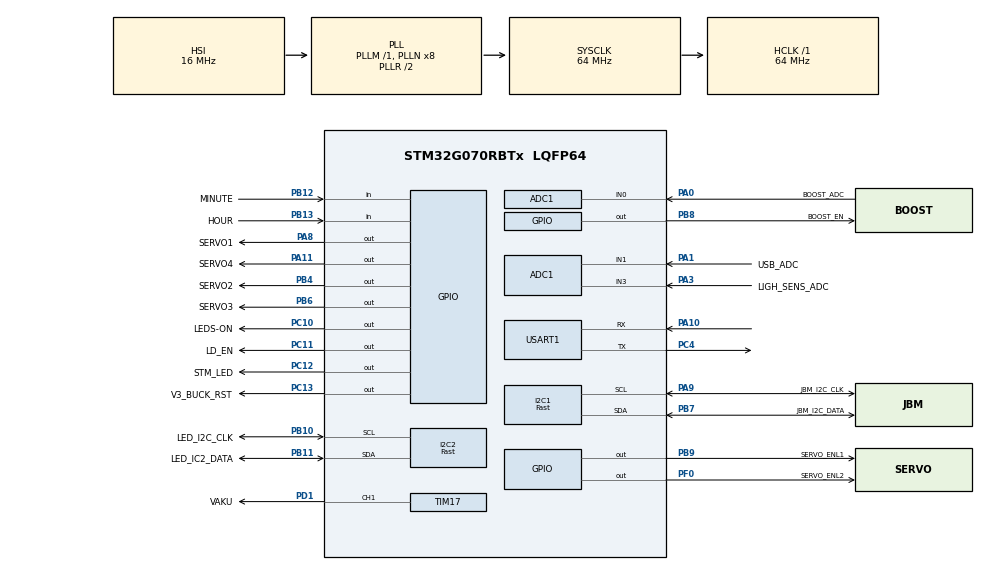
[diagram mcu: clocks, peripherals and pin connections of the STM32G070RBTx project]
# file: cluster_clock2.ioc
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ADC1.Channel-1\#ChannelRegularConversion=ADC_CHANNEL_0
ADC1.Channel-2\#ChannelRegularConversion=ADC_CHANNEL_1
ADC1.Channel-3\#ChannelRegularConversion=ADC_CHANNEL_VBAT
ADC1.Channel-4\#ChannelRegularConversion=ADC_CHANNEL_3
ADC1.ClockPrescaler=ADC_CLOCK_SYNC_PCLK_DIV2
ADC1.ContinuousConvMode=ENABLE
ADC1.DMAContinuousRequests=ENABLE
ADC1.DiscontinuousConvMode=DISABLE
ADC1.EOCSelection=ADC_EOC_SEQ_CONV
ADC1.EnableAnalogWatchDog3=false
ADC1.ExternalTrigConv=ADC_SOFTWARE_START
ADC1.NbrOfConversion=4
ADC1.NbrOfConversionFlag=1
ADC1.Overrun=ADC_OVR_DATA_PRESERVED
ADC1.Rank-1\#ChannelRegularConversion=1
ADC1.Rank-2\#ChannelRegularConversion=2
ADC1.Rank-3\#ChannelRegularConversion=3
ADC1.Rank-4\#ChannelRegularConversion=4
ADC1.SamplingTime-1\#ChannelRegularConversion=ADC_SAMPLINGTIME_COMMON_1
ADC1.SamplingTime-2\#ChannelRegularConversion=ADC_SAMPLINGTIME_COMMON_1
ADC1.SamplingTime-3\#ChannelRegularConversion=ADC_SAMPLINGTIME_COMMON_1
ADC1.SamplingTime-4\#ChannelRegularConversion=ADC_SAMPLINGTIME_COMMON_1
ADC1.SamplingTimeCommon1=ADC_SAMPLETIME_160CYCLES_5
ADC1.SamplingTimeCommon2=ADC_SAMPLETIME_1CYCLE_5
ADC1.SelectedChannel=ADC_CHANNEL_0|ADC_CHANNEL_1|ADC_CHANNEL_3|ADC_CHANNEL_VBAT
ADC1.Sequencer=FULLY_CONFIGURABLE
ADC1.master=1
Dma.ADC1.0.Direction=DMA_PERIPH_TO_MEMORY
Dma.ADC1.0.EventEnable=DISABLE
Dma.ADC1.0.Instance=DMA1_Channel1
Dma.ADC1.0.MemDataAlignment=DMA_MDATAALIGN_HALFWORD
Dma.ADC1.0.MemInc=DMA_MINC_ENABLE
Dma.ADC1.0.Mode=DMA_CIRCULAR
Dma.ADC1.0.PeriphDataAlignment=DMA_PDATAALIGN_HALFWORD
Dma.ADC1.0.PeriphInc=DMA_PINC_DISABLE
Dma.ADC1.0.Polarity=HAL_DMAMUX_REQ_GEN_RISING
Dma.ADC1.0.Priority=DMA_PRIORITY_LOW
Dma.ADC1.0.RequestNumber=1
Dma.ADC1.0.SignalID=NONE
Dma.ADC1.0.SyncEnable=DISABLE
Dma.ADC1.0.SyncPolarity=HAL_DMAMUX_SYNC_NO_EVENT
Dma.ADC1.0.SyncRequestNumber=1
Dma.ADC1.0.SyncSignalID=NONE
Dma.Request0=ADC1
I2C1.I2C_Speed_Mode=I2C_Fast
I2C1.Speed=100
I2C1.Timing=0x00301C79
I2C2.Analog_Filter=I2C_ANALOGFILTER_ENABLE
I2C2.I2C_Speed_Mode=I2C_Fast
I2C2.Timing=0x00C12166
Mcu.Family=STM32G0
Mcu.Name=STM32G070RBTx
Mcu.Package=LQFP64
NVIC.DMA1_Channel1_IRQn=true\:0\:0\:false\:false\:true\:false\:true\:true
PA0.GPIO_Label=BOOST_ADC
PA0.Mode=IN0
PA0.Signal=ADC1_IN0
PA1.GPIO_Label=USB_ADC
PA1.Mode=IN1
PA1.Signal=ADC1_IN1
PA10.Mode=Asynchronous
PA10.Signal=USART1_RX
PA11\ [PA9].GPIO_Label=SERVO4
PA11\ [PA9].Signal=GPIO_Output
PA13.Mode=Serial_Wire
PA13.Signal=SYS_SWDIO
PA14-BOOT0.Mode=Serial_Wire
PA14-BOOT0.Signal=SYS_SWCLK
PA2.GPIO_Label=VBATT_ADC
PA2.Signal=ADC1_IN2
PA3.GPIO_Label=LIGH_SENS_ADC
PA3.Mode=IN3
PA3.Signal=ADC1_IN3
PA8.GPIO_Label=SERVO1
PA8.Signal=GPIO_Output
PA9.GPIO_Label=JBM_I2C_CLK
PA9.Mode=I2C
PA9.Signal=I2C1_SCL
PB10.GPIO_Label=LED_I2C_CLK
PB10.Mode=I2C
PB10.Signal=I2C2_SCL
PB11.GPIO_Label=LED_IC2_DATA
PB11.Mode=I2C
PB11.Signal=I2C2_SDA
PB12.GPIO_Label=MINUTE
PB12.Signal=GPIO_Input
PB13.GPIO_Label=HOUR
PB13.Signal=GPIO_Input
PB4.GPIO_Label=SERVO2
PB4.Signal=GPIO_Output
PB6.GPIO_Label=SERVO3
PB6.Signal=GPIO_Output
PB7.GPIO_Label=JBM_I2C_DATA
PB7.Mode=I2C
PB7.Signal=I2C1_SDA
PB8.GPIO_Label=BOOST_EN
PB8.Signal=GPIO_Output
PB9.GPIO_Label=SERVO_ENL1
PB9.Signal=GPIO_Output
PC10.GPIO_Label=LEDS-ON
PC10.GPIO_PuPd=GPIO_PULLDOWN
PC10.Signal=GPIO_Output
PC11.GPIO_Label=LD_EN
PC11.GPIO_PuPd=GPIO_PULLDOWN
PC11.Signal=GPIO_Output
PC12.GPIO_Label=STM_LED
PC12.GPIO_PuPd=GPIO_PULLDOWN
PC12.Signal=GPIO_Output
PC13.GPIO_Label=V3_BUCK_RST
PC13.GPIO_PuPd=GPIO_PULLDOWN
PC13.Signal=GPIO_Output
PC14-OSC32_IN\ (PC14).Mode=LSE-External-Oscillator
PC14-OSC32_IN\ (PC14).Signal=RCC_OSC32_IN
PC15-OSC32_OUT\ (PC15).Mode=LSE-External-Oscillator
PC15-OSC32_OUT\ (PC15).Signal=RCC_OSC32_OUT
PC4.Mode=Asynchronous
PC4.Signal=USART1_TX
PD1.GPIO_Label=VAKU
PD1.Signal=S_TIM17_CH1
PF0-OSC_IN\ (PF0).GPIO_Label=SERVO_ENL2
PF0-OSC_IN\ (PF0).Signal=GPIO_Output
ProjectManager.HeapSize=0x200
ProjectManager.StackSize=0x400
ProjectManager.TargetToolchain=STM32CubeIDE
RCC.ADCFreq_Value=64000000
RCC.AHBFreq_Value=64000000
RCC.CortexFreq_Value=64000000
RCC.EXTERNAL_CLOCK_VALUE=48000
RCC.EnableCSSLSE=true
RCC.HCLKFreq_Value=64000000
RCC.HSE_VALUE=8000000
RCC.HSI_VALUE=16000000
RCC.I2C1CLockSelection=RCC_I2C1CLKSOURCE_HSI
RCC.LSE_Drive_Capability=RCC_LSEDRIVE_HIGH
RCC.RTCClockSelection=RCC_RTCCLKSOURCE_LSE
RCC.SYSCLKFreq_VALUE=64000000
RCC.SYSCLKSource=RCC_SYSCLKSOURCE_PLLCLK
RCC.USART1CLockSelection=RCC_USART1CLKSOURCE_HSI
RCC.VCOOutputFreq_Value=128000000
RTC.Date=1
RTC.HourFormat=RTC_HOURFORMAT_24
RTC.Hours=3
RTC.Month=RTC_MONTH_JANUARY
SH.S_TIM17_CH1.0=TIM17_CH1,PWM Generation1 CH1
TIM17.AutoReloadPreload=TIM_AUTORELOAD_PRELOAD_ENABLE
TIM17.Channel=TIM_CHANNEL_1
TIM17.Period=65535
TIM17.Pulse=0
USART1.VirtualMode-Asynchronous=VM_ASYNC
VP_ADC1_Vbat_Input.Mode=IN-Vbat
VP_CRC_VS_CRC.Mode=CRC_Activate
VP_RTC_VS_RTC_Activate.Mode=RTC_Enabled
VP_RTC_VS_RTC_Calendar.Mode=RTC_Calendar
VP_SYS_VS_DBSignals.Mode=DisableDeadBatterySignals
VP_TIM17_VS_ClockSourceINT.Mode=Enable_Timer
board=custom

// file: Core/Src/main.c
/* USER CODE BEGIN Header */
/**
 ******************************************************************************
 * @file           : main.c
 * @brief          : Main program body
 ******************************************************************************
 * @attention
 *
 * Copyright (c) 2025 STMicroelectronics.
 * All rights reserved.
 *
 * This software is licensed under terms that can be found in the LICENSE file
 * in the root directory of this software component.
 * If no LICENSE file comes with this software, it is provided AS-IS.
 *
 ******************************************************************************
 */
/* USER CODE END Header */
#include "main.h"
#include "adc.h"
#include "crc.h"
#include "dma.h"
#include "i2c.h"
#include "rtc.h"
#include "tim.h"
#include "usart.h"
#include "gpio.h"

/* USER CODE BEGIN Includes */

#include "LP5036RJVR_led_driver.h"
#include "main_motor_driver.h"
#include "small_motor_DAC.h"
#include "string.h"
#include "tasks.h"
#include "stdio.h"
#include "stdbool.h"
#include "button.h"

/* USER CODE END Includes */

/* USER CODE BEGIN PTD */

uint32_t My_Error_code = 0;

/* USER CODE END PTD */

/* USER CODE BEGIN PV */
Button_t btnHour;
Button_t btnMin;

/* USER CODE END PV */

void SystemClock_Config(void);

/* USER CODE BEGIN 0 */

//&&
//(vbatt_avg < 2669 	&& 	vbatt_avg 	> 4515)
//    	(usb_avg < 2669 	&& 	usb_avg 	> 3413) &&
/* USER CODE END 0 */

int main(void) {

	/* MCU Configuration--------------------------------------------------------*/

	/* Reset of all peripherals, Initializes the Flash interface and the Systick. */
	HAL_Init();

	/* Configure the system clock */
	SystemClock_Config();

	/* Initialize all configured peripherals */
	MX_GPIO_Init();
	MX_DMA_Init();
	MX_ADC1_Init();
	MX_I2C2_Init();
	MX_RTC_Init();
	MX_TIM17_Init();
	MX_USART1_UART_Init();
	MX_I2C1_Init();
	MX_CRC_Init();
	/* USER CODE BEGIN 2 */

	//RTC_SetTimeToZero();
	HAL_GPIO_WritePin(LEDS_ON_GPIO_Port, LEDS_ON_Pin, 0);
	HAL_GPIO_WritePin(BOOST_EN_GPIO_Port, BOOST_EN_Pin, 1);
	HAL_GPIO_WritePin(STM_LED_GPIO_Port, STM_LED_Pin, 0);
	HAL_GPIO_WritePin(V3_BUCK_RST_GPIO_Port, V3_BUCK_RST_Pin, 0);

	HAL_TIM_PWM_Start(&htim17, TIM_CHANNEL_1); //timer start for vaku led

//LED init
	if (led_driver_init() != HAL_OK) {
		write_bit(&My_Error_code, 0, 1);
		Error_Handler();
	}

	for (int i = 0; i < led_count; i++) {
		if (set_led(leds[i].channel, 0) != HAL_OK) {
			if (i == 6) {
				set_vaku_led(0);
			}
			write_bit(&My_Error_code, 1, 1);
			Error_Handler();
		}

	}

	log_reset_reason();
	show_error();
	HAL_Delay(1000);

	for (int i = 0; i < led_count; i++) {
		if (set_led(leds[i].channel, 0) != HAL_OK) {
			Error_Handler();
		}
	}

	set_vaku_led(0);

	set_background_brightness(100);

	motor_init();

	Button_Init(&btnMin, MINUTE_GPIO_Port, MINUTE_Pin);
	Button_Init(&btnHour, HOUR_GPIO_Port, HOUR_Pin);

	set_vaku_led(0);

	Task_Init();

	Task_Enable(task_Big_Motor);
//	Task_Enable(task_left_blink);
	//	Task_Enable(task_right_blink);
	//	Task_Enable(task_smotor_right);
	//	Task_Enable(task_smotor_left);
	Task_Enable(task_adc_evaluation);
	Task_Enable(task_buttons);

	HAL_Delay(1000);

	/* USER CODE END 2 */

	/* Infinite loop */
	while (1) {

		/* USER CODE BEGIN 3 */

		Task_Dispatch();

	}
	/* USER CODE END 3 */
}

void SystemClock_Config(void) {
	RCC_OscInitTypeDef RCC_OscInitStruct = { 0 };
	RCC_ClkInitTypeDef RCC_ClkInitStruct = { 0 };

	/** Configure the main internal regulator output voltage
	 */
	HAL_PWREx_ControlVoltageScaling(PWR_REGULATOR_VOLTAGE_SCALE1);

	/** Configure LSE Drive Capability
	 */
	HAL_PWR_EnableBkUpAccess();
	__HAL_RCC_LSEDRIVE_CONFIG(RCC_LSEDRIVE_HIGH);

	/** Initializes the RCC Oscillators according to the specified parameters
	 * in the RCC_OscInitTypeDef structure.
	 */
	RCC_OscInitStruct.OscillatorType = RCC_OSCILLATORTYPE_HSI
			| RCC_OSCILLATORTYPE_LSE;
	RCC_OscInitStruct.LSEState = RCC_LSE_ON;
	RCC_OscInitStruct.HSIState = RCC_HSI_ON;
	RCC_OscInitStruct.HSIDiv = RCC_HSI_DIV1;
	RCC_OscInitStruct.HSICalibrationValue = RCC_HSICALIBRATION_DEFAULT;
	RCC_OscInitStruct.PLL.PLLState = RCC_PLL_ON;
	RCC_OscInitStruct.PLL.PLLSource = RCC_PLLSOURCE_HSI;
	RCC_OscInitStruct.PLL.PLLM = RCC_PLLM_DIV1;
	RCC_OscInitStruct.PLL.PLLN = 8;
	RCC_OscInitStruct.PLL.PLLP = RCC_PLLP_DIV2;
	RCC_OscInitStruct.PLL.PLLR = RCC_PLLR_DIV2;
	if (HAL_RCC_OscConfig(&RCC_OscInitStruct) != HAL_OK) {
		Error_Handler();
	}

	/** Initializes the CPU, AHB and APB buses clocks
	 */
	RCC_ClkInitStruct.ClockType = RCC_CLOCKTYPE_HCLK | RCC_CLOCKTYPE_SYSCLK
			| RCC_CLOCKTYPE_PCLK1;
	RCC_ClkInitStruct.SYSCLKSource = RCC_SYSCLKSOURCE_PLLCLK;
	RCC_ClkInitStruct.AHBCLKDivider = RCC_SYSCLK_DIV1;
	RCC_ClkInitStruct.APB1CLKDivider = RCC_HCLK_DIV1;

	if (HAL_RCC_ClockConfig(&RCC_ClkInitStruct, FLASH_LATENCY_2) != HAL_OK) {
		Error_Handler();
	}

	/** Enables the Clock Security System
	 */
	HAL_RCC_EnableLSECSS();
}

void Error_Handler(void) {
	/* USER CODE BEGIN Error_Handler_Debug */
	/* User can add his own implementation to report the HAL error return state */
//__disable_irq();
	Task_Disable(task_Big_Motor);
	Task_Disable(task_left_blink);
	Task_Disable(task_right_blink);
//	Task_Disable(task_adc_evaluation);

	HAL_GPIO_WritePin(
	BOOST_EN_GPIO_Port,
	BOOST_EN_Pin, 0);
	HAL_GPIO_WritePin(
	LEDS_ON_GPIO_Port,
	LEDS_ON_Pin, 0);

	uint8_t enable_led_driver_usage = 1;
	uint8_t vaku_led_brightness = 0;

	if ((read_bit(My_Error_code, 0)) == 1) { //led driver init hiba

		enable_led_driver_usage = 0;
		vaku_led_brightness = 5;

	} else {

		if (read_bit(My_Error_code, 1)) {
			vaku_led_brightness = 100;
		}

		for (int i = 0; i < led_count; i++) {
			set_led(leds[i].channel, 0);
		}

		set_background_brightness(20);
		set_vaku_led(0);

		//	set_led(My_Error_code, 100);
	}

	while (1) {

		if (enable_led_driver_usage == 1) { //not a led driver error init error

			set_led(
			CHECK_ENGINE, 50);
			set_vaku_led(vaku_led_brightness);

			HAL_Delay(1000);

			set_led(
			CHECK_ENGINE, 0);
			set_vaku_led(0);

			HAL_Delay(1000);

			show_error();

		} else { //led driver init error blink

			set_vaku_led(5);
			HAL_Delay(1000);
			set_vaku_led(0);
			HAL_Delay(1000);

		}

	}
	/* USER CODE END Error_Handler_Debug */
}
